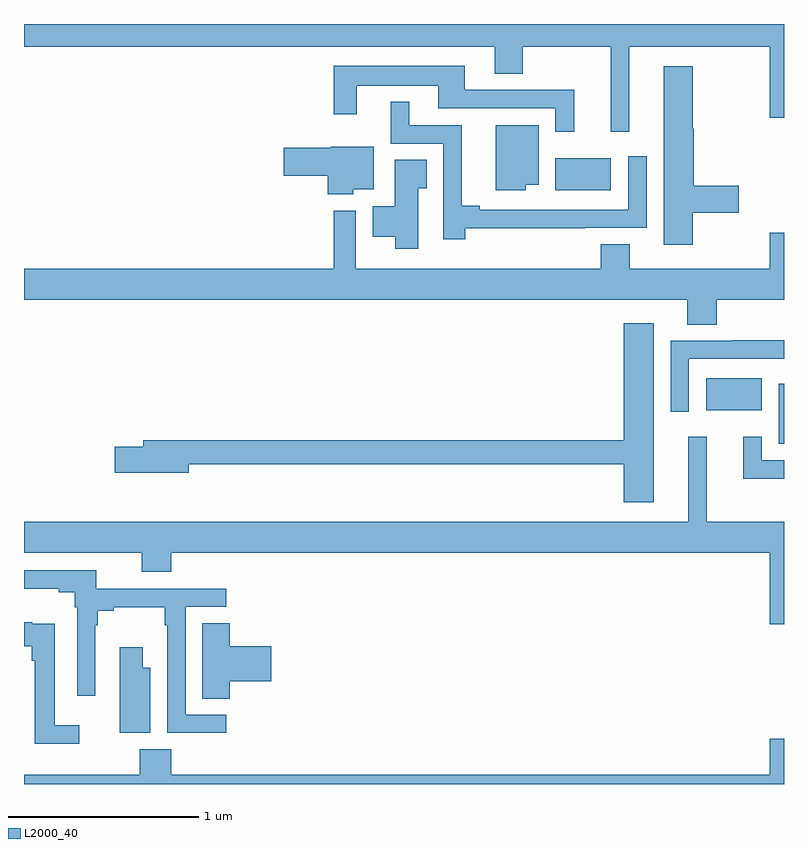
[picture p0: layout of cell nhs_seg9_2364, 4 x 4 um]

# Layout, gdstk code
import gdstk
lib = gdstk.Library(unit=1e-6, precision=1e-09)
def R(c, l, rs):  # rectangles x0, y0, x1, y1
    for r in rs: c.add(gdstk.rectangle(r[:2], r[2:], *l))
def P(c, l, *ps):  # polygons
    for p in ps: c.add(gdstk.Polygon(p, *l))
L2000_40 = (2000, 40)

nhs_seg9_2364 = lib.new_cell('nhs_seg9_2364')
R(nhs_seg9_2364, L2000_40, [(248.972,1234.292,249,1234.606), (248.591,1234.466,248.884,1234.636), (247.796,1235.624,248.089,1235.794)])
P(nhs_seg9_2364, L2000_40, [(248.186,1236.38),(248.924,1236.38),(248.924,1236.006),(249,1236.006),(249,1236.5),(245,1236.5),(245,1236.38),(247.478,1236.38),(247.478,1236.238),(247.626,1236.238),(247.626,1236.38),(248.087,1236.38),(248.087,1235.934),(248.186,1235.934)],
  [(247.895,1236.153),(247.321,1236.153),(247.321,1236.28),(246.63,1236.28),(246.63,1236.024),(246.751,1236.024),(246.751,1236.176),(247.181,1236.176),(247.181,1236.057),(247.797,1236.057),(247.797,1235.934),(247.895,1235.934)],
  [(248.52,1235.506),(248.761,1235.506),(248.761,1235.648),(248.525,1235.648),(248.525,1235.948),(248.52,1235.948),(248.52,1236.277),(248.366,1236.277),(248.366,1235.337),(248.52,1235.337)],
  [(247.322,1235.426),(247.952,1235.426),(247.952,1235.427),(248.277,1235.427),(248.277,1235.803),(248.181,1235.803),(248.181,1235.523),(247.399,1235.523),(247.399,1235.543),(247.304,1235.543),(247.304,1235.967),(247.027,1235.967),(247.027,1236.091),(246.929,1236.091),(246.929,1235.871),(247.206,1235.871),(247.206,1235.367),(247.322,1235.367)],
  [(247.642,1235.654),(247.708,1235.654),(247.708,1235.968),(247.484,1235.968),(247.484,1235.624),(247.642,1235.624)],
  [(246.732,1235.63),(246.841,1235.63),(246.841,1235.854),(246.615,1235.854),(246.615,1235.849),(246.366,1235.849),(246.366,1235.702),(246.599,1235.702),(246.599,1235.603),(246.732,1235.603)],
  [(247.075,1235.635),(247.121,1235.635),(247.121,1235.786),(246.95,1235.786),(246.95,1235.542),(246.836,1235.542),(246.836,1235.381),(246.953,1235.381),(246.953,1235.316),(247.075,1235.316)],
  [(248.645,1235.048),(249,1235.048),(249,1235.401),(248.924,1235.401),(248.924,1235.212),(248.188,1235.212),(248.188,1235.342),(248.036,1235.342),(248.036,1235.212),(246.747,1235.212),(246.747,1235.518),(246.631,1235.518),(246.631,1235.212),(245,1235.212),(245,1235.048),(248.492,1235.048),(248.492,1234.918),(248.645,1234.918)],
  [(248.314,1234.924),(248.156,1234.924),(248.156,1234.31),(245.627,1234.31),(245.627,1234.274),(245.478,1234.274),(245.478,1234.139),(245.866,1234.139),(245.866,1234.182),(248.156,1234.182),(248.156,1233.984),(248.314,1233.984)],
  [(248.499,1234.737),(249,1234.737),(249,1234.835),(248.728,1234.835),(248.728,1234.833),(248.403,1234.833),(248.403,1234.458),(248.499,1234.458)],
  [(249,1233.88),(248.594,1233.88),(248.594,1234.327),(248.495,1234.327),(248.495,1233.88),(245,1233.88),(245,1233.716),(245.621,1233.716),(245.621,1233.617),(245.774,1233.617),(245.774,1233.716),(248.924,1233.716),(248.924,1233.342),(249,1233.342)],
  [(249,1234.203),(248.883,1234.203),(248.883,1234.327),(248.786,1234.327),(248.786,1234.107),(249,1234.107)],
  [(246.064,1232.865),(245.85,1232.865),(245.85,1233.432),(246.064,1233.432),(246.064,1233.528),(245.379,1233.528),(245.379,1233.624),(245,1233.624),(245,1233.527),(245.183,1233.527),(245.183,1233.508),(245.268,1233.508),(245.268,1233.431),(245.28,1233.431),(245.28,1232.964),(245.376,1232.964),(245.376,1233.335),(245.389,1233.335),(245.389,1233.412),(245.473,1233.412),(245.473,1233.431),(245.742,1233.431),(245.742,1233.335),(245.754,1233.335),(245.754,1232.769),(246.064,1232.769)],
  [(245.29,1232.809),(245.161,1232.809),(245.161,1233.344),(245.043,1233.344),(245.043,1233.352),(245,1233.352),(245,1233.226),(245.04,1233.226),(245.04,1233.149),(245.057,1233.149),(245.057,1232.711),(245.29,1232.711)],
  [(246.083,1233.041),(246.301,1233.041),(246.301,1233.224),(246.083,1233.224),(246.083,1233.347),(245.939,1233.347),(245.939,1232.95),(246.083,1232.95)],
  [(245.665,1233.112),(245.626,1233.112),(245.626,1233.22),(245.504,1233.22),(245.504,1232.769),(245.665,1232.769)],
  [(249,1232.737),(248.924,1232.737),(248.924,1232.548),(245.774,1232.548),(245.774,1232.683),(245.609,1232.683),(245.609,1232.548),(245,1232.548),(245,1232.5),(249,1232.5)])

lib.write_gds('nhs_seg9_2364.gds')
